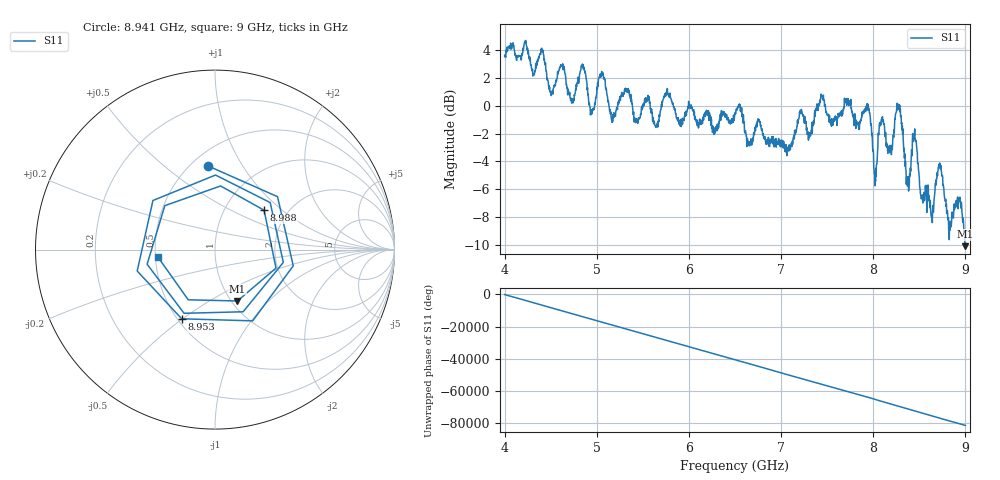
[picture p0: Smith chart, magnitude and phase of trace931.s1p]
! Created with skrf 1.8.0 (http://scikit-rf.org).
# Hz S RI R 50.0
!freq ReS11 ImS11
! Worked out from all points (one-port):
!   1601 points, 4 GHz to 9 GHz, reference 50 ohm
!   lowest |S11| = -10.1 dB at 8.994 GHz (marker M1), VSWR 1.91, Z = 53.2 - j33.8 ohm
!   |S11| at or under -10 dB: 8.99371 GHz to 8.996527 GHz (2.817 MHz wide, 0.0313 % of centre)
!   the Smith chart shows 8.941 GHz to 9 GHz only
!   S11 on the Smith chart (normalised r, x): 8.941 GHz: 0.60, +0.72; 8.953 GHz: 0.53, -0.50; 8.988 GHz: 1.52, +0.76; 9 GHz: 0.52, -0.05
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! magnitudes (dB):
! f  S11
! 4 GHz  3.6
! 4.509 GHz  0.9
! 4.625 GHz  2.8
! 4.728 GHz  0.2
! 4.844 GHz  3.0
! 4.947 GHz  -0.3
! 5.047 GHz  2.1
! 5.162 GHz  -1.0
! 5.25 GHz  0.5
! 5.875 GHz  -1.0
! 6.5 GHz  -0.6
! 7.125 GHz  -2.8
! 7.75 GHz  0.2
! 7.944 GHz  -0.1
! 8.022 GHz  -5.2
! 8.084 GHz  -1.3
! 8.181 GHz  -3.1
! 8.278 GHz  -0.1
! 8.375 GHz  -5.1
! 8.45 GHz  -1.7
! 8.631 GHz  -8.0
! 8.719 GHz  -4.3
! 8.825 GHz  -9.6
! 8.941 GHz  -6.6
! 8.953 GHz  -7.4
! 8.988 GHz  -9.1
! 8.994 GHz  -10.1
! 9 GHz  -9.9
